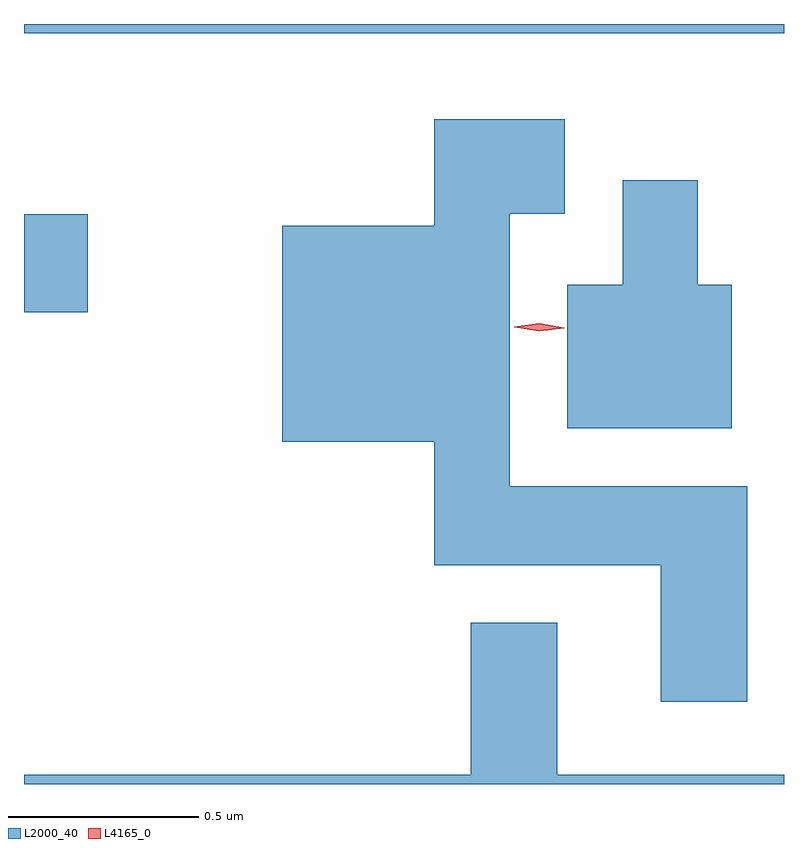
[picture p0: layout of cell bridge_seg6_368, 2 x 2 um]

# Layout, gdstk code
import gdstk
lib = gdstk.Library(unit=1e-6, precision=1e-09)
def R(c, l, rs):  # rectangles x0, y0, x1, y1
    for r in rs: c.add(gdstk.rectangle(r[:2], r[2:], *l))
def P(c, l, *ps):  # polygons
    for p in ps: c.add(gdstk.Polygon(p, *l))
L2000_40 = (2000, 40)
L4165_0 = (4165, 0)

bridge_seg6_368 = lib.new_cell('bridge_seg6_368')
R(bridge_seg6_368, L2000_40, [(1279.446,1551.521,1279.614,1551.779), (1279.446,1552.256,1281.446,1552.28)])
P(bridge_seg6_368, L2000_40, [(1281.349,1551.064),(1280.724,1551.064),(1280.724,1551.781),(1280.869,1551.781),(1280.869,1552.029),(1280.526,1552.029),(1280.526,1551.749),(1280.126,1551.749),(1280.126,1551.181),(1280.526,1551.181),(1280.526,1550.856),(1281.121,1550.856),(1281.121,1550.496),(1281.349,1550.496)],
  [(1281.309,1551.594),(1281.219,1551.594),(1281.219,1551.869),(1281.021,1551.869),(1281.021,1551.594),(1280.876,1551.594),(1280.876,1551.216),(1281.309,1551.216)],
  [(1281.446,1550.304),(1280.849,1550.304),(1280.849,1550.704),(1280.621,1550.704),(1280.621,1550.304),(1279.446,1550.304),(1279.446,1550.28),(1281.446,1550.28)])
P(bridge_seg6_368, L4165_0, [(1280.802,1551.472),(1280.736,1551.482),(1280.736,1551.483),(1280.736,1551.483),(1280.802,1551.492),(1280.868,1551.481),(1280.868,1551.48),(1280.868,1551.48)])

lib.write_gds('bridge_seg6_368.gds')
